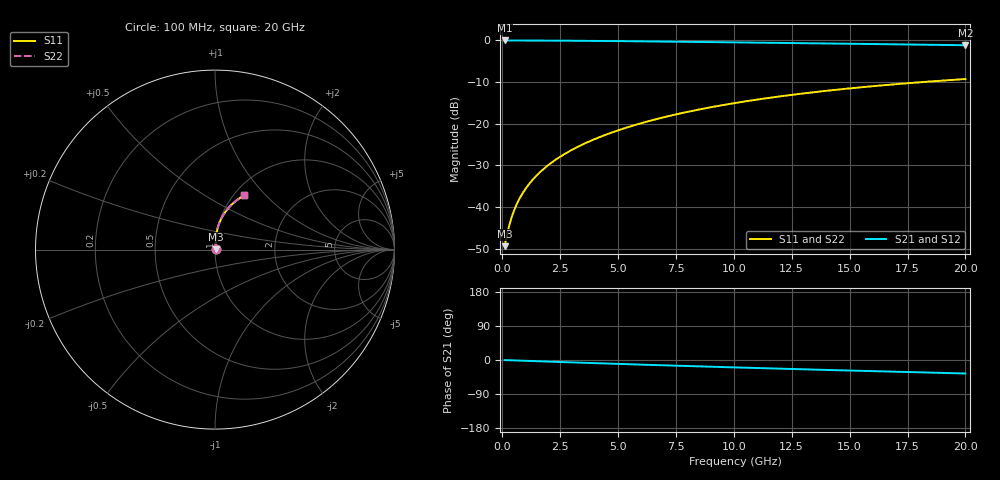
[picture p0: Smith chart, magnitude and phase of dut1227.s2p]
! Touchstone file exported from HFSS 2024.1.0
!  File:  C:/UserFiles/LocalFiles/RDL_TSV_Batchsim/temp_RDL_top_1227_1780240474.aedt
!  Generated:  11:16:54 PM May 31, 2026
!  Design:  RDL_top
!  Project:  temp_RDL_top_1227_1780240474
!  Setup:  Setup1
!  Solution:  Sweep
! Variables:
!  dtsv = 10.80580581um
!  hbump = 3um
!  htsv = 83.57um
!  ldown = 100um
!  lrdl = 466.62um
!  p = 40
!  p1 = 55.07um
!  rhole = 1um
!  t = 450um
!  tdown = 3.915915916um
!  trdl = 2.64um
!  wdown = 15.38538539um
!  wrdl = 23.85um
# GHz S MA R 50.000000
! Terminal data exported
! Port[1] = Box2_T1
! Port[2] = Box2_T2
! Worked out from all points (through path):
!   200 points, 100 MHz to 20 GHz, reference 50 ohm
!   highest |S21| = -0.03 dB at 100 MHz (marker M1); lowest = -1.2 dB at 20 GHz (marker M2)
!   group delay of S21, straight-line fit = 4.9 ps
!   lowest |S11| = -49.4 dB at 100 MHz (marker M3), VSWR 1.01, Z = 50.3 + j0.176 ohm
!   |S11| at or under -10 dB: start of sweep to 18.17 GHz
!   |S22| runs from -49.4 to -9.3 dB; largest |S21 - S12| = 3.3e-15
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0.1  0.003391 31.1  0.9971 -0.2  0.9971 -0.2  0.003391 31.1
! Gamma 0 0 0 0
! Port Impedance 50 0 50 0
0.2  0.004582 49.1  0.997 -0.4  0.997 -0.4  0.004582 49.1
0.3  0.005999 58.6  0.9968 -0.7  0.9968 -0.7  0.005999 58.6
0.4  0.007474 64.2  0.9966 -0.9  0.9966 -0.9  0.007474 64.2
0.5  0.008961 68.0  0.9964 -1.1  0.9964 -1.1  0.008961 68.0
0.6  0.01045 70.7  0.9963 -1.3  0.9963 -1.3  0.01045 70.7
0.8  0.01345 74.5  0.9959 -1.7  0.9959 -1.7  0.01345 74.5
1.1  0.01799 78.1  0.9954 -2.4  0.9954 -2.4  0.01799 78.1
1.3  0.02107 79.7  0.9949 -2.8  0.9949 -2.8  0.02107 79.7
1.6  0.02574 81.5  0.9942 -3.4  0.9942 -3.4  0.02574 81.5
2.1  0.03368 83.3  0.9928 -4.5  0.9928 -4.5  0.03368 83.3
2.7  0.04345 84.5  0.9907 -5.7  0.9907 -5.7  0.04345 84.5
3.5  0.05687 85.2  0.9873 -7.3  0.9873 -7.3  0.05687 85.2
4.2  0.06897 85.3  0.9839 -8.7  0.9839 -8.7  0.06897 85.3
5  0.08317 85.0  0.9795 -10.3  0.9795 -10.3  0.08318 85.0
6.8  0.1162 83.3  0.9683 -13.7  0.9683 -13.7  0.1162 83.3
8.4  0.1462 81.1  0.9576 -16.7  0.9576 -16.7  0.1462 81.1
10.1  0.178 78.4  0.9457 -19.7  0.9457 -19.7  0.178 78.4
11.7  0.2074 75.6  0.9343 -22.4  0.9343 -22.4  0.2074 75.7
13.4  0.2377 72.7  0.9221 -25.2  0.9221 -25.2  0.2377 72.7
16.7  0.2932 67.0  0.898 -30.5  0.898 -30.5  0.2932 67.0
20  0.3435 61.6  0.8737 -35.6  0.8737 -35.6  0.3435 61.6
